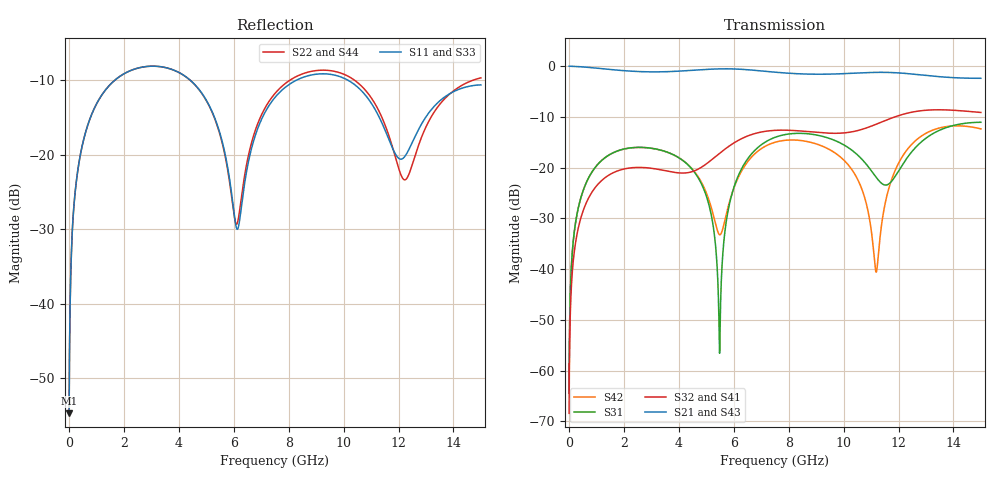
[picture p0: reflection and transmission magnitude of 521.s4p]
! Created with skrf 1.8.0 (http://scikit-rf.org).
# GHz S RI R 50.0
!freq ReS11 ImS11 ReS12 ImS12 ReS13 ImS13
! ReS14 ImS14
! ReS21 ImS21 ReS22 ImS22 ReS23 ImS23
! ReS24 ImS24
! ReS31 ImS31 ReS32 ImS32 ReS33 ImS33
! ReS34 ImS34
! ReS41 ImS41 ReS42 ImS42 ReS43 ImS43
! ReS44 ImS44
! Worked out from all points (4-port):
!   2499 points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, 5 MHz to 15 GHz, reference 50 ohm
!   strongest paths, dB at 5 MHz, 3.476 GHz, 7.19 GHz, 11.1 GHz, 15 GHz:
!     S21: 0.0, -1.1, -1.0, -1.2, -2.4
!     S43: 0.0, -1.1, -1.0, -1.3, -2.4
!     S32: -68.4, -20.6, -12.8, -11.6, -9.1
!     S41: -68.4, -20.7, -12.8, -11.7, -9.3
!     S31: -64.4, -16.8, -14.8, -21.3, -11.1
!     S42: -64.4, -16.8, -15.7, -36.8, -12.4
!   lowest |S11| = -54.7 dB at 5 MHz (marker M1), VSWR 1.00, Z = 50.1 + j0.112 ohm
!   |S11| at or under -10 dB: start of sweep to 1.67 GHz; 4.417 GHz to 8.281 GHz (3.864 GHz wide, 60.9 % of centre); 10.16 GHz to end of sweep
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0.005  0.00147 0.00112  0.9985 -0.00286  7.39e-05 0.000598  -7.17e-05 -0.000372
       0.9985 -0.00286  0.00147 0.00112  -7.17e-05 -0.000372  7.39e-05 0.000598
       7.39e-05 0.000598  -7.17e-05 -0.000372  0.00147 0.00112  0.9985 -0.00286
       -7.17e-05 -0.000372  7.39e-05 0.000598  0.9985 -0.00286  0.00147 0.00112
1.519383  0.2305 0.189  0.6299 -0.6775  0.1154 0.0723  -0.0841 -0.0193
          0.6299 -0.6775  0.2306 0.1889  -0.0843 -0.0192  0.1146 0.0731
          0.1154 0.0723  -0.0843 -0.0192  0.2304 0.189  0.6299 -0.6775
          -0.0841 -0.0193  0.1146 0.0731  0.6299 -0.6775  0.2307 0.1888
5.483535  0.0703 -0.1234  -0.8621 -0.3726  -0.00145 -0.0003  -0.0523 0.1279
          -0.8621 -0.3726  0.0709 -0.12  -0.0494 0.129  -0.0205 -0.00746
          -0.00145 -0.0003  -0.0494 0.129  0.0713 -0.123  -0.8621 -0.3724
          -0.0523 0.1279  -0.0205 -0.00746  -0.8621 -0.3724  0.0698 -0.1205
6.502709  0.0516 0.0659  -0.9106 0.1382  0.0612 0.1049  0.0431 0.2
          -0.9106 0.1382  0.0575 0.0729  0.0472 0.1992  0.0233 0.1115
          0.0612 0.1049  0.0472 0.1992  0.0525 0.0659  -0.9105 0.1387
          0.0431 0.2  0.0233 0.1115  -0.9105 0.1387  0.0568 0.0741
9.741559  0.3342 -0.0609  0.1063 0.8305  0.1198 -0.1372  0.1998 -0.0804
          0.1063 0.8305  0.3493 -0.0877  0.1989 -0.0886  0.1248 -0.0547
          0.1198 -0.1372  0.1989 -0.0886  0.3366 -0.0594  0.1065 0.8291
          0.1998 -0.0804  0.1248 -0.0547  0.1065 0.8291  0.3537 -0.0898
11.18591  0.1548 -0.1197  0.6552 0.5685  -0.0527 -0.0606  0.1733 -0.2033
          0.6552 0.5685  0.1467 -0.1546  0.1643 -0.2109  -0.00815 -0.00451
          -0.0527 -0.0606  0.1643 -0.2109  0.1603 -0.1211  0.6541 0.5681
          0.1733 -0.2033  -0.00815 -0.00451  0.6541 0.5681  0.1482 -0.1595
15  0.2942 -0.00274  0.2997 -0.6968  0.2652 -0.0889  -0.3406 -0.0477
    0.2997 -0.6968  0.3275 0.018  -0.3479 -0.0317  0.2402 0.0141
    0.2652 -0.0889  -0.3479 -0.0317  0.2917 0.00139  0.2972 -0.6963
    -0.3406 -0.0477  0.2402 0.0141  0.2972 -0.6963  0.3373 0.0159
